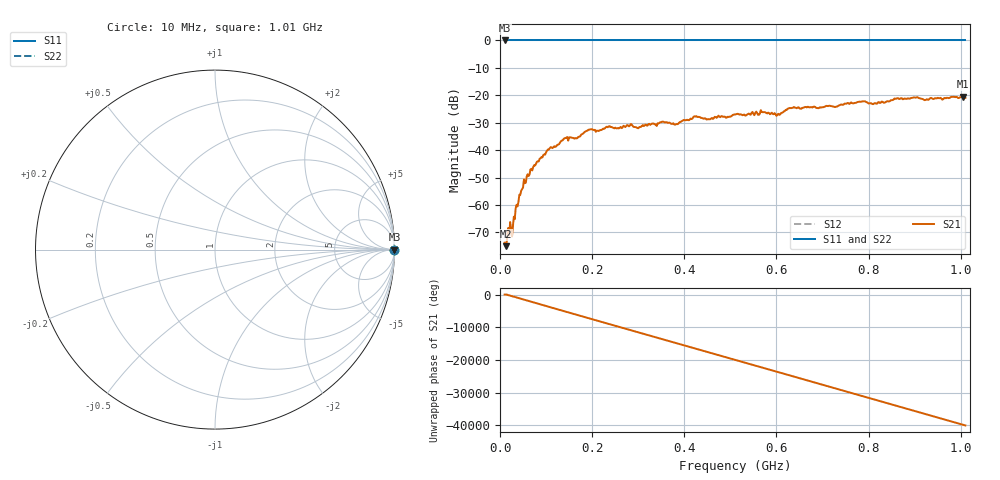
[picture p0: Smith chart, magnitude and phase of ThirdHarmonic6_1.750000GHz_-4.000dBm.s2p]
! 8/16/2025 9:06:22 PM
! C:\ANRITSUVNA\TEMP\TEMP.S2P
! CHANNEL.1
! TR.MEASUREMENT
! RAW.DATA
! RF.CORRECTION.OFF
! AVERAGING.OFF
! IF.BANDWIDTH: 5KHZ
! SWEEPTYPE:  FREQ.SWEEP(Linear)
! Reference Plane Port Info
! PORT:  PORT1  PORT2
! DISTANCE:  0  m  0  m
! TIME:  0  s  0  s
! PHASE.OFFSET:  0  deg.  0  deg.
! LOSS:  0  dB  0  dB
! REF.LOSS:  0  dB  0  dB
! REF.FREQ:  0  Hz  0  Hz
! Power Info
! POWER:  -20  dBm  -20  dBm
! EFF.POWER:  -20  dBm  -20  dBm
! SOURCE.ATTEN:  0  dB  0  dB
! TEST.ATTEN:  0  dB  0  dB
# GHZ S RI R 50.0
! FREQ.GHZ  S11RE  S11IM  S21RE  S21IM  S12RE  S12IM  S22RE  S22IM
!; PortSelection: Port_12
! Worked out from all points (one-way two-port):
!   501 points, 10 MHz to 1.01 GHz, reference 50 ohm
!   highest |S21| = -20.55 dB at 1.004 GHz (marker M1); lowest = -75.1 dB at 12 MHz (marker M2)
!   lowest |S11| = 0.0 dB at 10 MHz (marker M3)
!   |S11| at or under -10 dB: nowhere
!   |S22| runs from 0.0 to 0.0 dB; largest |S21 - S12| = 1.1
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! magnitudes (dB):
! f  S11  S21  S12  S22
! 10 MHz  0.0  -73.8  0.0  0.0
! 12 MHz  0.0  -75.1  0.0  0.0
! 20 MHz  0.0  -71.1  0.0  0.0
! 28 MHz  0.0  -68.0  0.0  0.0
! 38 MHz  0.0  -60.6  0.0  0.0
! 48 MHz  0.0  -54.2  0.0  0.0
! 70 MHz  0.0  -47.4  0.0  0.0
! 106 MHz  0.0  -39.8  0.0  0.0
! 142 MHz  0.0  -35.6  0.0  0.0
! 178 MHz  0.0  -34.2  0.0  0.0
! 234 MHz  0.0  -31.7  0.0  0.0
! 344 MHz  0.0  -30.3  0.0  0.0
! 382 MHz  0.0  -30.6  0.0  0.0
! 424 MHz  0.0  -27.8  0.0  0.0
! 510 MHz  0.0  -27.0  0.0  0.0
! 570 MHz  0.0  -26.2  0.0  0.0
! 604 MHz  0.0  -26.8  0.0  0.0
! 628 MHz  0.0  -24.7  0.0  0.0
! 678 MHz  0.0  -24.5  0.0  0.0
! 844 MHz  0.0  -22.3  0.0  0.0
! 1.004 GHz  0.0  -20.5  0.0  0.0
! 1.01 GHz  0.0  -21.0  0.0  0.0
